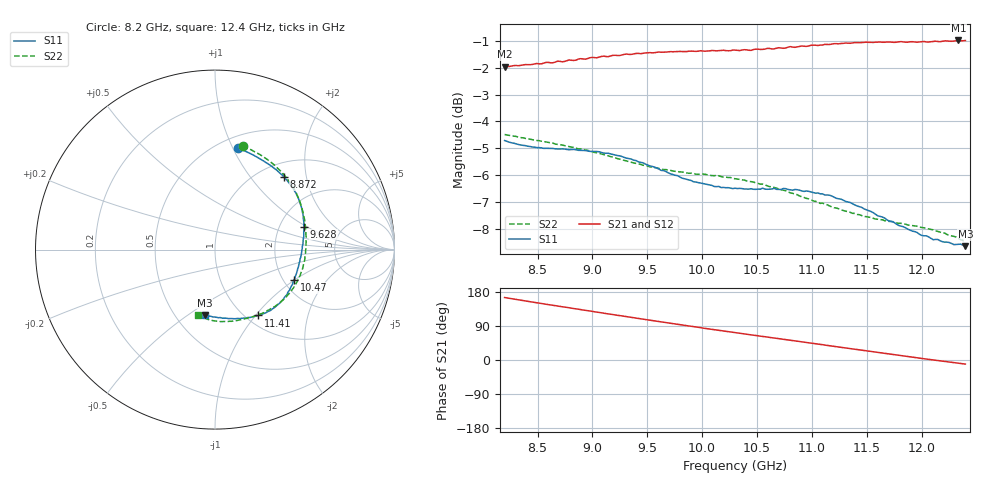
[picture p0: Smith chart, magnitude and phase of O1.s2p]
#  HZ  S  RI  R  50.00
! Rohde & Schwarz Vector Network Analyzer
! Rohde-Schwarz,ZNB20-2Port,1334333062101703,3.32
! Created: UTC 4/26/2022, 3:18:40 PM
! freq[Hz]  re:S11  im:S11  re:S21  im:S21  re:S12  im:S12  re:S22  im:S22
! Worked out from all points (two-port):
!   201 points, 8.2 GHz to 12.4 GHz, reference 50 ohm
!   highest |S21| = -0.98 dB at 12.34 GHz (marker M1); lowest = -2.0 dB at 8.2 GHz (marker M2)
!   |S21| within 3 dB of the highest: start of sweep to end of sweep
!   lowest |S11| = -8.7 dB at 12.4 GHz (marker M3), VSWR 2.17, Z = 34.6 - j29.2 ohm
!   |S11| at or under -10 dB: nowhere
!   |S22| runs from -8.5 to -4.5 dB; largest |S21 - S12| = 0.0092
!   S11 on the Smith chart (normalised r, x): 8.2 GHz: 0.61, +1.05; 8.872 GHz: 1.27, +1.49; 9.628 GHz: 2.72, +0.95; 10.47 GHz: 2.27, -0.99; 11.41 GHz: 1.14, -1.03; 12.4 GHz: 0.69, -0.58
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8.2e9  0.1293 0.5665  -0.7706 0.208  -0.769 0.2094  0.1537 0.5761
8.368e9  0.2048 0.531  -0.7395 0.315  -0.738 0.3169  0.2304 0.5408
8.578e9  0.2885 0.4823  -0.6833 0.4398  -0.6797 0.4416  0.3158 0.4837
8.872e9  0.3847 0.4031  -0.5735 0.592  -0.572 0.5925  0.411 0.3811
8.914e9  0.3962 0.3916  -0.5515 0.6131  -0.5498 0.6093  0.4243 0.3651
9.103e9  0.4409 0.3299  -0.461 0.696  -0.4602 0.6913  0.4636 0.2902
9.271e9  0.4709 0.2691  -0.3718 0.7521  -0.3748 0.7529  0.4858 0.2237
9.607e9  0.4951 0.1376  -0.1689 0.8327  -0.1695 0.8306  0.5064 0.0956
9.628e9  0.4947 0.1285  -0.1557 0.8345  -0.1582 0.8325  0.5067 0.0869
9.775e9  0.4946 0.0722  -0.0624 0.8487  -0.0637 0.85  0.5077 0.0322
9.964e9  0.485 0.000577  0.0532 0.851  0.055 0.8532  0.5013 -0.0369
1.0153e10  0.4726 -0.066  0.1737 0.8367  0.169 0.8418  0.4878 -0.1065
1.03e10  0.4591 -0.1159  0.2625 0.8154  0.2588 0.8154  0.4667 -0.1596
1.0468e10  0.44 -0.1691  0.3546 0.7821  0.3541 0.7874  0.4366 -0.2142
1.0762e10  0.3993 -0.253  0.5088 0.6988  0.5102 0.7061  0.3641 -0.2946
1.1014e10  0.3462 -0.3101  0.6339 0.603  0.6315 0.606  0.2933 -0.339
1.1266e10  0.2831 -0.3521  0.735 0.4863  0.7384 0.4898  0.2234 -0.3692
1.1413e10  0.2408 -0.3669  0.7848 0.4086  0.7856 0.4091  0.1843 -0.3809
1.1707e10  0.1518 -0.3822  0.8539 0.239  0.8557 0.24  0.1046 -0.3971
1.2064e10  0.0417 -0.3821  0.8864 0.0273  0.8925 0.0287  -0.000372 -0.3976
1.2337e10  -0.0375 -0.3702  0.883 -0.1324  0.8851 -0.1337  -0.079 -0.3735
1.24e10  -0.0562 -0.3649  0.8768 -0.1669  0.8794 -0.1713  -0.0954 -0.3649
